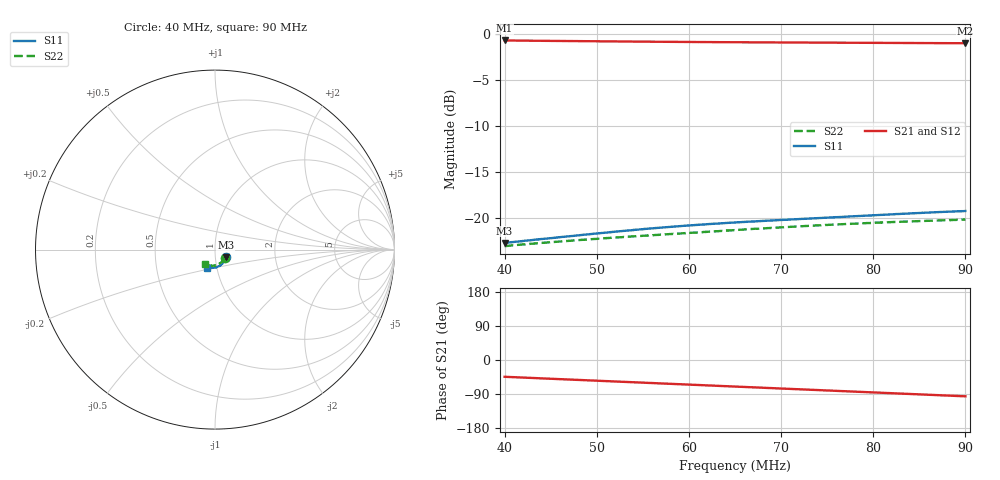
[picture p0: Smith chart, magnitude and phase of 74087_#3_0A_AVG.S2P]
!Agilent Technologies,E5061B,MY49102235,A.02.00
!Date: Mon Jul 03 11:13:05 2023
!Data & Calibration Information:
!Freq	S11:SOLT2(ON)	S21:SOLT2(ON)	S12:SOLT2(ON)	S22:SOLT2(ON)
# Hz S RI R 50
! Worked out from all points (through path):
!   1600 points, 40 MHz to 90 MHz, reference 50 ohm
!   highest |S21| = -0.65 dB at 40 MHz (marker M1); lowest = -1.0 dB at 90 MHz (marker M2)
!   group delay of S21, straight-line fit = 2.86 ns
!   lowest |S11| = -22.7 dB at 40 MHz (marker M3), VSWR 1.16, Z = 56.2 - j4.79 ohm
!   |S11| at or under -10 dB: start of sweep to end of sweep
!   |S22| runs from -23.0 to -20.1 dB; largest |S21 - S12| = 0.00096
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4e7  0.0599 -0.0424  0.6642 -0.6477  0.6642 -0.6469  0.0546 -0.0445
4.068793e7  0.0595 -0.044  0.6557 -0.6554  0.6558 -0.6547  0.054 -0.0461
4.403377e7  0.0571 -0.0518  0.6123 -0.6915  0.6125 -0.6909  0.0502 -0.0535
4.606629e7  0.0552 -0.0565  0.5852 -0.712  0.5853 -0.7118  0.0474 -0.0578
4.834897e7  0.0526 -0.0618  0.5541 -0.7339  0.5542 -0.7337  0.044 -0.0623
5.225766e7  0.0471 -0.0703  0.499 -0.7686  0.4991 -0.7682  0.0371 -0.0693
5.482176e7  0.0431 -0.0757  0.4619 -0.7888  0.4621 -0.7888  0.032 -0.0735
5.666667e7  0.0397 -0.0793  0.4348 -0.8024  0.4349 -0.8022  0.0281 -0.0761
5.873046e7  0.0357 -0.0829  0.4043 -0.8167  0.4041 -0.8165  0.0236 -0.0789
6.082552e7  0.0314 -0.0864  0.3727 -0.8298  0.3726 -0.8297  0.0189 -0.0815
6.501563e7  0.0219 -0.0922  0.3084 -0.8532  0.3085 -0.8527  0.00846 -0.0858
6.901814e7  0.012 -0.0965  0.2461 -0.871  0.2462 -0.8705  -0.00221 -0.0886
7.133208e7  0.00607 -0.0984  0.2095 -0.8795  0.2097 -0.8789  -0.00865 -0.0895
7.33646e7  0.000584 -0.0999  0.1769 -0.8858  0.1773 -0.8851  -0.0143 -0.0899
7.530331e7  -0.00464 -0.1008  0.1457 -0.8904  0.1461 -0.89  -0.0197 -0.0899
7.746091e7  -0.0103 -0.1016  0.111 -0.8945  0.1113 -0.8941  -0.0258 -0.0896
7.936836e7  -0.0155 -0.1021  0.08 -0.8969  0.0804 -0.8966  -0.031 -0.0888
8.16823e7  -0.0218 -0.1025  0.0425 -0.8985  0.0429 -0.8983  -0.0373 -0.0875
8.358974e7  -0.0269 -0.1024  0.0115 -0.8987  0.0119 -0.8984  -0.0423 -0.0861
8.596623e7  -0.0331 -0.1021  -0.0269 -0.8972  -0.0267 -0.8972  -0.0483 -0.0839
8.971857e7  -0.0429 -0.1006  -0.0871 -0.8919  -0.0872 -0.8916  -0.0575 -0.0797
9e7  -0.0437 -0.1004  -0.0915 -0.8913  -0.0917 -0.8912  -0.0582 -0.0793
